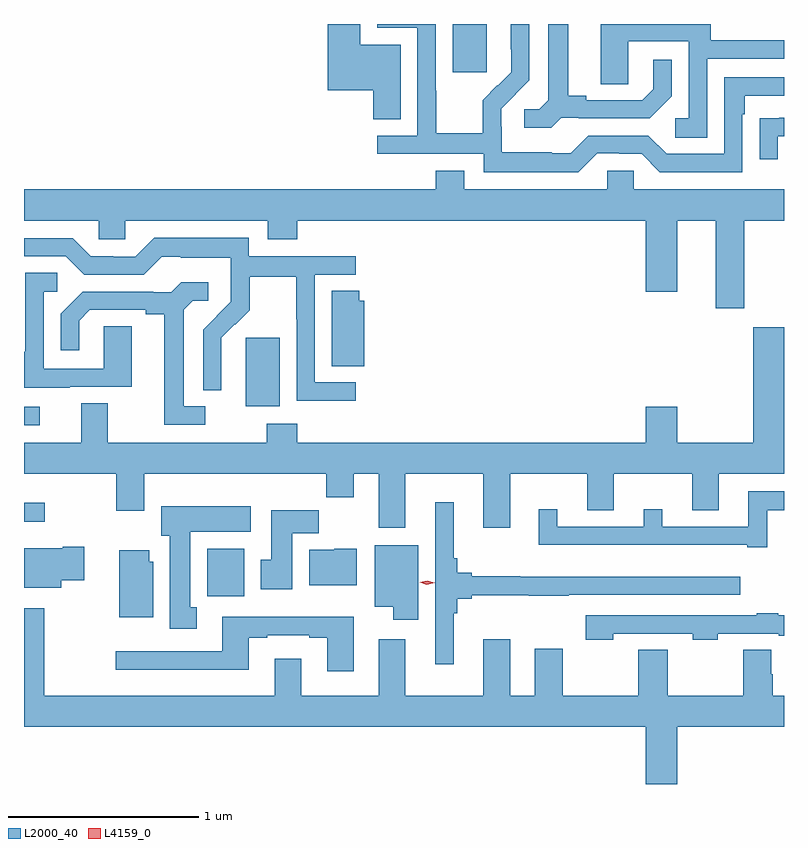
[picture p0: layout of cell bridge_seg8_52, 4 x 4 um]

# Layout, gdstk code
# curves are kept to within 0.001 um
import gdstk
lib = gdstk.Library(unit=1e-6, precision=1e-09)
def R(c, l, rs):  # rectangles x0, y0, x1, y1
    for r in rs: c.add(gdstk.rectangle(r[:2], r[2:], *l))
def P(c, l, *ps):  # polygons
    for p in ps: c.add(gdstk.Polygon(p, *l))
L2000_40 = (2000, 40)
L4159_0 = (4159, 0)

bridge_seg8_52 = lib.new_cell('bridge_seg8_52')
R(bridge_seg8_52, L2000_40, [(1085.775,1117.188,1085.971,1117.438), (1084.811,1117.58,1084.921,1117.678), (1084.811,1118.088,1084.894,1118.184), (1085.978,1118.186,1086.157,1118.547), (1087.067,1119.945,1087.246,1120.199)])
P(bridge_seg8_52, L2000_40, [(1086.793,1120.09),(1086.58,1120.09),(1086.58,1120.199),(1086.41,1120.199),(1086.41,1119.851),(1086.65,1119.851),(1086.65,1119.697),(1086.793,1119.697)],
  [(1088.406,1120.017),(1088.811,1120.017),(1088.811,1120.113),(1088.425,1120.113),(1088.425,1120.199),(1087.847,1120.199),(1087.847,1119.883),(1087.992,1119.883),(1087.992,1120.107),(1088.31,1120.107),(1088.31,1119.702),(1088.238,1119.702),(1088.238,1119.601),(1088.406,1119.601)],
  [(1087.827,1119.519),(1087.943,1119.519),(1087.943,1119.516),(1088.061,1119.516),(1088.157,1119.42),(1088.592,1119.42),(1088.592,1119.725),(1088.605,1119.725),(1088.605,1119.822),(1088.811,1119.822),(1088.811,1119.918),(1088.496,1119.918),(1088.496,1119.516),(1088.193,1119.516),(1088.097,1119.612),(1087.782,1119.612),(1087.689,1119.519),(1087.589,1119.519),(1087.589,1119.523),(1087.326,1119.523),(1087.326,1119.657),(1087.324,1119.657),(1087.324,1119.754),(1087.47,1119.902),(1087.47,1120.199),(1087.374,1120.199),(1087.374,1120.066),(1087.376,1120.066),(1087.376,1119.944),(1087.305,1119.873),(1087.302,1119.876),(1087.225,1119.799),(1087.225,1119.625),(1086.981,1119.625),(1086.981,1119.848),(1086.978,1119.848),(1086.978,1120.199),(1086.669,1120.199),(1086.669,1120.179),(1086.882,1120.179),(1086.882,1119.612),(1086.669,1119.612),(1086.669,1119.516),(1087.23,1119.516),(1087.23,1119.419),(1087.727,1119.419)],
  [(1087.638,1119.705),(1087.732,1119.705),(1087.732,1119.702),(1088.104,1119.702),(1088.22,1119.818),(1088.22,1120.012),(1088.123,1120.012),(1088.123,1119.855),(1088.066,1119.798),(1087.771,1119.798),(1087.771,1119.821),(1087.675,1119.821),(1087.675,1120.199),(1087.571,1120.199),(1087.571,1119.797),(1087.524,1119.75),(1087.443,1119.75),(1087.443,1119.653),(1087.586,1119.653)],
  [(1088.779,1119.609),(1088.811,1119.609),(1088.811,1119.705),(1088.785,1119.705),(1088.785,1119.704),(1088.683,1119.704),(1088.683,1119.486),(1088.779,1119.486)],
  [(1088.601,1119.164),(1088.811,1119.164),(1088.811,1119.328),(1088.019,1119.328),(1088.019,1119.426),(1087.881,1119.426),(1087.881,1119.328),(1087.129,1119.328),(1087.129,1119.427),(1086.977,1119.427),(1086.977,1119.328),(1084.811,1119.328),(1084.811,1119.164),(1085.205,1119.164),(1085.205,1119.066),(1085.343,1119.066),(1085.343,1119.164),(1086.095,1119.164),(1086.095,1119.065),(1086.248,1119.065),(1086.248,1119.164),(1088.084,1119.164),(1088.084,1118.79),(1088.248,1118.79),(1088.248,1119.164),(1088.453,1119.164),(1088.453,1118.703),(1088.601,1118.703)],
  [(1086.556,1118.313),(1086.342,1118.313),(1086.342,1118.88),(1086.556,1118.88),(1086.556,1118.976),(1085.994,1118.976),(1085.994,1119.073),(1085.497,1119.073),(1085.397,1118.973),(1085.282,1118.973),(1085.282,1118.976),(1085.163,1118.976),(1085.067,1119.072),(1084.811,1119.072),(1084.811,1118.976),(1085.031,1118.976),(1085.127,1118.88),(1085.442,1118.88),(1085.535,1118.973),(1085.635,1118.973),(1085.635,1118.969),(1085.898,1118.969),(1085.898,1118.835),(1085.9,1118.835),(1085.9,1118.738),(1085.754,1118.59),(1085.754,1118.272),(1085.85,1118.272),(1085.849,1118.549),(1085.919,1118.619),(1085.922,1118.616),(1085.999,1118.693),(1085.999,1118.868),(1086.244,1118.868),(1086.244,1118.644),(1086.246,1118.644),(1086.246,1118.215),(1086.556,1118.215)],
  [(1085.053,1118.289),(1085.377,1118.289),(1085.377,1118.609),(1085.232,1118.609),(1085.232,1118.385),(1084.914,1118.385),(1084.914,1118.79),(1084.987,1118.79),(1084.987,1118.891),(1084.818,1118.891),(1084.818,1118.475),(1084.811,1118.475),(1084.811,1118.285),(1085.053,1118.285)],
  [(1085.764,1118.187),(1085.653,1118.187),(1085.653,1118.695),(1085.7,1118.742),(1085.782,1118.742),(1085.782,1118.839),(1085.638,1118.839),(1085.586,1118.787),(1085.492,1118.787),(1085.492,1118.79),(1085.12,1118.79),(1085.004,1118.674),(1085.004,1118.481),(1085.101,1118.481),(1085.101,1118.637),(1085.158,1118.694),(1085.453,1118.694),(1085.453,1118.672),(1085.549,1118.672),(1085.549,1118.091),(1085.764,1118.091)],
  [(1086.602,1118.742),(1086.575,1118.742),(1086.575,1118.795),(1086.431,1118.795),(1086.431,1118.398),(1086.602,1118.398)],
  [(1086.817,1117.832),(1087.229,1117.832),(1087.229,1117.548),(1087.369,1117.548),(1087.369,1117.832),(1087.775,1117.832),(1087.775,1117.639),(1087.915,1117.639),(1087.915,1117.832),(1088.327,1117.832),(1088.327,1117.639),(1088.467,1117.639),(1088.467,1117.832),(1088.811,1117.832),(1088.811,1118.602),(1088.648,1118.602),(1088.648,1117.996),(1088.248,1117.996),(1088.248,1118.185),(1088.084,1118.185),(1088.084,1117.996),(1086.248,1117.996),(1086.248,1118.095),(1086.088,1118.095),(1086.088,1117.996),(1085.251,1117.996),(1085.251,1118.204),(1085.111,1118.204),(1085.111,1117.996),(1084.811,1117.996),(1084.811,1117.832),(1085.296,1117.832),(1085.296,1117.638),(1085.443,1117.638),(1085.443,1117.832),(1086.403,1117.832),(1086.403,1117.708),(1086.547,1117.708),(1086.547,1117.832),(1086.677,1117.832),(1086.677,1117.548),(1086.817,1117.548)],
  [(1088.722,1117.64),(1088.811,1117.64),(1088.811,1117.741),(1088.624,1117.741),(1088.624,1117.554),(1088.17,1117.554),(1088.17,1117.645),(1088.072,1117.645),(1088.072,1117.554),(1087.618,1117.554),(1087.618,1117.645),(1087.52,1117.645),(1087.52,1117.457),(1088.618,1117.457),(1088.618,1117.446),(1088.722,1117.446)],
  [(1087.072,1117.097),(1087.091,1117.097),(1087.091,1117.174),(1087.168,1117.174),(1087.168,1117.192),(1087.468,1117.192),(1087.468,1117.189),(1087.679,1117.189),(1087.679,1117.194),(1088.581,1117.194),(1088.581,1117.291),(1087.424,1117.291),(1087.424,1117.293),(1087.168,1117.293),(1087.168,1117.31),(1087.091,1117.31),(1087.091,1117.387),(1087.072,1117.387),(1087.072,1117.681),(1086.975,1117.681),(1086.975,1116.828),(1087.072,1116.828)],
  [(1085.719,1117.129),(1085.686,1117.129),(1085.686,1117.526),(1086.004,1117.526),(1086.004,1117.66),(1085.534,1117.66),(1085.534,1117.506),(1085.579,1117.506),(1085.579,1117.017),(1085.719,1117.017)],
  [(1086.223,1117.52),(1086.362,1117.52),(1086.362,1117.639),(1086.113,1117.639),(1086.113,1117.38),(1086.056,1117.38),(1086.056,1117.224),(1086.223,1117.224)],
  [(1086.886,1117.456),(1086.656,1117.456),(1086.656,1117.133),(1086.755,1117.133),(1086.755,1117.064),(1086.886,1117.064)],
  [(1085.008,1117.271),(1085.128,1117.271),(1085.128,1117.449),(1085.015,1117.449),(1085.015,1117.441),(1084.811,1117.441),(1084.811,1117.232),(1085.008,1117.232)],
  [(1086.562,1117.438),(1086.444,1117.438),(1086.444,1117.432),(1086.311,1117.432),(1086.311,1117.244),(1086.562,1117.244)],
  [(1085.491,1117.368),(1085.47,1117.368),(1085.47,1117.429),(1085.312,1117.429),(1085.312,1117.076),(1085.491,1117.076)],
  [(1088.248,1116.5),(1088.811,1116.5),(1088.811,1116.664),(1088.751,1116.664),(1088.751,1116.776),(1088.743,1116.776),(1088.743,1116.905),(1088.596,1116.905),(1088.596,1116.664),(1088.198,1116.664),(1088.198,1116.905),(1088.044,1116.905),(1088.044,1116.664),(1087.647,1116.664),(1087.647,1116.91),(1087.499,1116.91),(1087.499,1116.664),(1087.369,1116.664),(1087.369,1116.961),(1087.229,1116.961),(1087.229,1116.664),(1086.817,1116.664),(1086.817,1116.961),(1086.677,1116.961),(1086.677,1116.664),(1086.271,1116.664),(1086.271,1116.859),(1086.131,1116.859),(1086.131,1116.664),(1084.917,1116.664),(1084.917,1117.123),(1084.811,1117.123),(1084.811,1116.5),(1088.084,1116.5),(1088.084,1116.199),(1088.248,1116.199)],
  [(1087.911,1116.99),(1088.331,1116.99),(1088.331,1116.958),(1088.463,1116.958),(1088.463,1116.99),(1088.783,1116.99),(1088.783,1116.978),(1088.811,1116.978),(1088.811,1117.087),(1088.782,1117.087),(1088.782,1117.099),(1088.668,1117.099),(1088.668,1117.086),(1087.767,1117.086),(1087.767,1116.958),(1087.911,1116.958)],
  [(1086.547,1117.078),(1085.855,1117.078),(1085.855,1116.897),(1085.295,1116.897),(1085.295,1116.8),(1085.995,1116.8),(1085.995,1116.969),(1086.091,1116.969),(1086.091,1116.981),(1086.311,1116.981),(1086.311,1116.969),(1086.407,1116.969),(1086.407,1116.792),(1086.547,1116.792)])
P(bridge_seg8_52, L4159_0, [(1086.932,1117.249),(1086.893,1117.26),(1086.892,1117.26),(1086.893,1117.26),(1086.933,1117.269),(1086.973,1117.259),(1086.973,1117.258),(1086.973,1117.258)])

lib.write_gds('bridge_seg8_52.gds')
